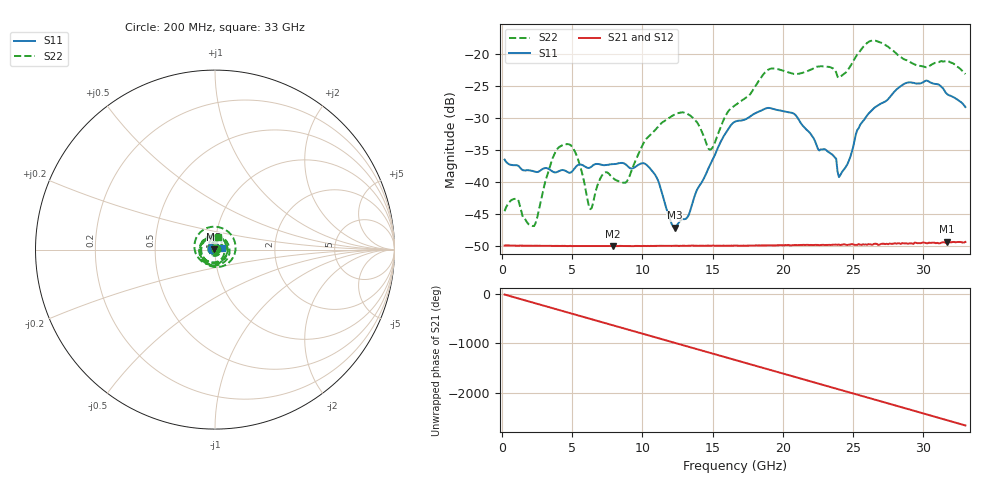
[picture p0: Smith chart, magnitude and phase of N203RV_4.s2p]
# GHZ S RI R 50
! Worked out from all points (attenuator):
!   329 points, 200 MHz to 33 GHz, reference 50 ohm
!   highest |S21| = -49.40 dB at 31.7 GHz (marker M1); lowest = -50.1 dB at 7.9 GHz (marker M2)
!   lowest |S11| = -47.2 dB at 12.3 GHz (marker M3), VSWR 1.01, Z = 49.6 + j0.159 ohm
!   |S11| at or under -10 dB: start of sweep to end of sweep
!   |S22| runs from -46.9 to -17.8 dB; largest |S21 - S12| = 7.2e-05
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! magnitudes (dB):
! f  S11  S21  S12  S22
! 200 MHz  -36.5  -50.0  -49.9  -44.6
! 1.1 GHz  -37.4  -50.0  -50.0  -42.7
! 2.3 GHz  -38.4  -50.0  -50.0  -46.9
! 3.5 GHz  -38.2  -50.0  -50.0  -37.0
! 4.3 GHz  -38.1  -50.0  -50.0  -34.3
! 5.7 GHz  -37.3  -50.1  -50.0  -38.5
! 6.3 GHz  -37.7  -50.1  -50.0  -44.3
! 7.1 GHz  -37.3  -50.1  -50.1  -39.1
! 7.9 GHz  -37.2  -50.1  -50.1  -39.4
! 8.9 GHz  -37.4  -50.1  -50.0  -39.9
! 11.2 GHz  -40.2  -50.0  -50.0  -31.2
! 12.3 GHz  -47.2  -50.0  -50.0  -29.4
! 13.7 GHz  -42.4  -50.0  -50.0  -30.1
! 14.8 GHz  -37.4  -50.0  -50.0  -35.0
! 16.6 GHz  -30.6  -50.0  -50.0  -28.0
! 19.1 GHz  -28.4  -50.0  -50.0  -22.3
! 22.1 GHz  -32.8  -49.9  -49.8  -22.3
! 24 GHz  -39.2  -49.8  -49.9  -23.7
! 25.5 GHz  -31.1  -49.8  -49.8  -19.5
! 27.6 GHz  -26.8  -49.7  -49.7  -19.0
! 31.7 GHz  -26.2  -49.4  -49.6  -21.0
! 33 GHz  -28.3  -49.4  -49.4  -23.1
